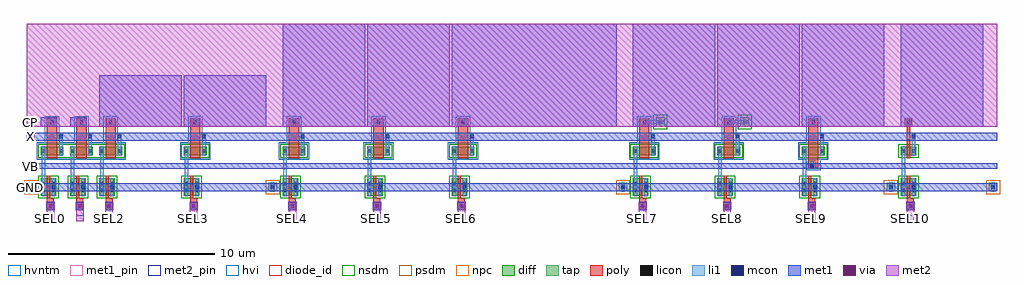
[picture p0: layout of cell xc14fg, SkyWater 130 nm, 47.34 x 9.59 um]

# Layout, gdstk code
import gdstk
lib = gdstk.Library(unit=1e-6, precision=1e-09)
def R(c, l, rs):  # rectangles x0, y0, x1, y1
    for r in rs: c.add(gdstk.rectangle(r[:2], r[2:], *l))
def A(c, l, x, y, w, h, nx, ny, dx, dy):  # array of equal rectangles
    R(c, l, [(x+i*dx, y+j*dy, x+i*dx+w, y+j*dy+h) for i in range(nx) for j in range(ny)])
diff = (65, 20)
tap = (65, 44)
poly = (66, 20)
licon = (66, 44)
li1 = (67, 20)
mcon = (67, 44)
met1_pin = (68, 16)
met1 = (68, 20)
via = (68, 44)
met2_pin = (69, 16)
met2 = (69, 20)
hvi = (75, 20)
diode_id = (81, 23)
nsdm = (93, 44)
psdm = (94, 20)
npc = (95, 20)
hvntm = (125, 20)

xc14fg = lib.new_cell('xc14fg')
A(xc14fg, diff, 0.69, -1.96, 0.75, 0.84, 3, 1, 1.42, 0)
A(xc14fg, diff, 12.42, -1.96, 0.75, 0.84, 3, 1, 4.1, 0)
A(xc14fg, diff, 29.41, -1.96, 0.75, 0.84, 3, 1, 4.1, 0)
A(xc14fg, diff, 0.69, 0, 1.1, 0.42, 3, 1, 1.42, 0)
A(xc14fg, diff, 12.42, 0, 1.1, 0.42, 3, 1, 4.1, 0)
A(xc14fg, diff, 29.41, 0, 1.1, 0.42, 3, 1, 4.1, 0)
R(xc14fg, diff, [(7.63,-1.96,8.38,-1.12), (42.4,-1.96,43.15,-1.12), (7.63,0,8.73,0.42), (42.4,0,43.15,0.42), (30.51,1.4,30.96,1.85), (34.61,1.4,35.06,1.85)])
R(xc14fg, tap, [(0,-1.75,0.42,-1.33), (11.73,-1.75,12.15,-1.33), (28.72,-1.75,29.14,-1.33), (41.71,-1.75,42.13,-1.33), (46.67,-1.75,47.09,-1.33)])
A(xc14fg, poly, 0.99, -2.62, 0.34, 0.53, 3, 1, 1.42, 0)
A(xc14fg, poly, 12.72, -2.62, 0.34, 0.53, 3, 1, 4.1, 0)
A(xc14fg, poly, 29.71, -2.62, 0.34, 0.53, 3, 1, 4.1, 0)
A(xc14fg, poly, 0.99, -2.09, 0.15, 1.1, 3, 1, 1.42, 0)
A(xc14fg, poly, 12.72, -2.09, 0.15, 1.1, 3, 1, 4.1, 0)
A(xc14fg, poly, 29.71, -2.09, 0.15, 1.1, 3, 1, 4.1, 0)
A(xc14fg, poly, 0.99, -0.13, 0.5, 1.92, 3, 1, 1.42, 0)
A(xc14fg, poly, 12.72, -0.13, 0.5, 1.92, 3, 1, 4.1, 0)
R(xc14fg, poly, [(7.93,-2.62,8.27,-2.09), (42.7,-2.62,43.04,-2.09), (7.93,-2.09,8.08,-0.99), (42.7,-2.09,42.85,-0.99), (37.91,-0.62,38.41,1.79), (7.93,-0.13,8.43,1.79), (29.71,-0.13,30.21,1.79), (33.81,-0.13,34.31,1.79), (42.7,-0.13,42.85,1.46), (42.605,1.46,42.945,1.79)])
A(xc14fg, licon, 1.08, -2.54, 0.17, 0.17, 3, 1, 1.42, 0)
A(xc14fg, licon, 12.81, -2.54, 0.17, 0.17, 3, 1, 4.1, 0)
A(xc14fg, licon, 29.8, -2.54, 0.17, 0.17, 3, 1, 4.1, 0)
A(xc14fg, licon, 1.155, 1.54, 0.17, 0.17, 3, 1, 1.42, 0)
A(xc14fg, licon, 12.885, 1.54, 0.17, 0.17, 3, 1, 4.1, 0)
R(xc14fg, licon, [(8.02,-2.54,8.19,-2.37), (42.79,-2.54,42.96,-2.37), (0.73,-1.795,0.9,-1.625), (1.23,-1.795,1.4,-1.625), (2.15,-1.795,2.32,-1.625), (2.65,-1.795,2.82,-1.625), (3.57,-1.795,3.74,-1.625), (4.07,-1.795,4.24,-1.625), (7.67,-1.795,7.84,-1.625), (8.17,-1.795,8.34,-1.625), (12.46,-1.795,12.63,-1.625), (12.96,-1.795,13.13,-1.625), (16.56,-1.795,16.73,-1.625), (17.06,-1.795,17.23,-1.625), (20.66,-1.795,20.83,-1.625), (21.16,-1.795,21.33,-1.625), (29.45,-1.795,29.62,-1.625), (29.95,-1.795,30.12,-1.625), (33.55,-1.795,33.72,-1.625), (34.05,-1.795,34.22,-1.625), (37.65,-1.795,37.82,-1.625), (38.15,-1.795,38.32,-1.625), (42.44,-1.795,42.61,-1.625), (42.94,-1.795,43.11,-1.625), (0.125,-1.625,0.295,-1.455), (11.855,-1.625,12.025,-1.455), (28.845,-1.625,29.015,-1.455), (41.835,-1.625,42.005,-1.455), (46.795,-1.625,46.965,-1.455), (0.73,-1.455,0.9,-1.285), (1.23,-1.455,1.4,-1.285), (2.15,-1.455,2.32,-1.285), (2.65,-1.455,2.82,-1.285), (3.57,-1.455,3.74,-1.285), (4.07,-1.455,4.24,-1.285), (7.67,-1.455,7.84,-1.285), (8.17,-1.455,8.34,-1.285), (12.46,-1.455,12.63,-1.285), (12.96,-1.455,13.13,-1.285), (16.56,-1.455,16.73,-1.285), (17.06,-1.455,17.23,-1.285), (20.66,-1.455,20.83,-1.285), (21.16,-1.455,21.33,-1.285), (29.45,-1.455,29.62,-1.285), (29.95,-1.455,30.12,-1.285), (33.55,-1.455,33.72,-1.285), (34.05,-1.455,34.22,-1.285), (37.65,-1.455,37.82,-1.285), (38.15,-1.455,38.32,-1.285), (42.44,-1.455,42.61,-1.285), (42.94,-1.455,43.11,-1.285), (38,-0.54,38.17,-0.37), (0.73,0.125,0.9,0.295), (1.58,0.125,1.75,0.295), (2.15,0.125,2.32,0.295), (3,0.125,3.17,0.295), (3.57,0.125,3.74,0.295), (4.42,0.125,4.59,0.295), (7.67,0.125,7.84,0.295), (8.52,0.125,8.69,0.295), (12.46,0.125,12.63,0.295), (13.31,0.125,13.48,0.295), (16.56,0.125,16.73,0.295), (17.41,0.125,17.58,0.295), (20.66,0.125,20.83,0.295), (21.51,0.125,21.68,0.295), (29.45,0.125,29.62,0.295), (30.3,0.125,30.47,0.295), (33.55,0.125,33.72,0.295), (34.4,0.125,34.57,0.295), (37.65,0.125,37.82,0.295), (38.5,0.125,38.67,0.295), (42.44,0.125,42.61,0.295), (42.94,0.125,43.11,0.295), (8.095,1.54,8.265,1.71), (29.875,1.54,30.045,1.71), (30.65,1.54,30.82,1.71), (33.975,1.54,34.145,1.71), (34.75,1.54,34.92,1.71), (38.075,1.54,38.245,1.71), (42.69,1.54,42.86,1.71)])
A(xc14fg, li1, 1.08, -2.62, 0.17, 0.33, 3, 1, 1.42, 0)
A(xc14fg, li1, 12.81, -2.62, 0.17, 0.33, 3, 1, 4.1, 0)
A(xc14fg, li1, 29.8, -2.62, 0.17, 0.33, 3, 1, 4.1, 0)
A(xc14fg, li1, 0.73, -1.98, 0.17, 2.42, 3, 1, 1.42, 0)
A(xc14fg, li1, 1.23, -1.98, 0.17, 0.88, 3, 1, 1.42, 0)
A(xc14fg, li1, 12.46, -1.98, 0.17, 2.42, 3, 1, 4.1, 0)
A(xc14fg, li1, 12.96, -1.98, 0.17, 0.88, 3, 1, 4.1, 0)
A(xc14fg, li1, 29.45, -1.98, 0.17, 2.42, 3, 1, 4.1, 0)
A(xc14fg, li1, 29.95, -1.98, 0.17, 0.88, 3, 1, 4.1, 0)
A(xc14fg, li1, 1.58, -0.02, 0.17, 1.07, 3, 1, 1.42, 0)
A(xc14fg, li1, 13.31, -0.02, 0.17, 1.07, 3, 1, 4.1, 0)
A(xc14fg, li1, 30.3, -0.02, 0.17, 1.07, 3, 1, 4.1, 0)
A(xc14fg, li1, 1.155, 1.46, 0.17, 0.33, 3, 1, 1.42, 0)
A(xc14fg, li1, 12.885, 1.46, 0.17, 0.33, 3, 1, 4.1, 0)
R(xc14fg, li1, [(8.02,-2.62,8.19,-2.29), (42.79,-2.62,42.96,-2.29), (7.67,-1.98,7.84,0.44), (8.17,-1.98,8.34,-1.1), (42.44,-1.98,42.61,0.44), (42.94,-1.98,43.11,-1.1), (0.125,-1.77,0.295,-1.31), (11.855,-1.77,12.025,-1.31), (28.845,-1.77,29.015,-1.31), (41.835,-1.77,42.005,-1.31), (46.795,-1.77,46.965,-1.31), (38,-0.62,38.17,-0.29), (8.52,-0.02,8.69,1.05), (42.94,-0.02,43.11,1.05), (8.095,1.46,8.265,1.79), (29.875,1.46,30.045,1.54), (33.975,1.46,34.145,1.54), (38.075,1.46,38.245,1.79), (42.69,1.46,42.86,1.79), (29.875,1.54,30.9,1.71), (33.975,1.54,35,1.71), (29.875,1.71,30.045,1.79), (33.975,1.71,34.145,1.79)])
A(xc14fg, mcon, 1.08, -2.54, 0.17, 0.17, 3, 1, 1.42, 0)
A(xc14fg, mcon, 12.81, -2.54, 0.17, 0.17, 3, 1, 4.1, 0)
A(xc14fg, mcon, 29.8, -2.54, 0.17, 0.17, 3, 1, 4.1, 0)
A(xc14fg, mcon, 1.23, -1.625, 0.17, 0.17, 3, 1, 1.42, 0)
A(xc14fg, mcon, 12.96, -1.625, 0.17, 0.17, 3, 1, 4.1, 0)
A(xc14fg, mcon, 29.95, -1.625, 0.17, 0.17, 3, 1, 4.1, 0)
A(xc14fg, mcon, 1.58, 0.82, 0.17, 0.17, 3, 1, 1.42, 0)
A(xc14fg, mcon, 13.31, 0.82, 0.17, 0.17, 3, 1, 4.1, 0)
A(xc14fg, mcon, 30.3, 0.82, 0.17, 0.17, 3, 1, 4.1, 0)
A(xc14fg, mcon, 1.155, 1.54, 0.17, 0.17, 3, 1, 1.42, 0)
A(xc14fg, mcon, 12.885, 1.54, 0.17, 0.17, 3, 1, 4.1, 0)
A(xc14fg, mcon, 29.875, 1.54, 0.17, 0.17, 3, 1, 4.1, 0)
R(xc14fg, mcon, [(8.02,-2.54,8.19,-2.37), (42.79,-2.54,42.96,-2.37), (0.125,-1.625,0.295,-1.455), (8.17,-1.625,8.34,-1.455), (11.855,-1.625,12.025,-1.455), (28.845,-1.625,29.015,-1.455), (41.835,-1.625,42.005,-1.455), (42.94,-1.625,43.11,-1.455), (46.795,-1.625,46.965,-1.455), (38,-0.6,38.17,-0.43), (8.52,0.82,8.69,0.99), (42.94,0.82,43.11,0.99), (8.095,1.54,8.265,1.71), (42.69,1.54,42.86,1.71)])
R(xc14fg, met1_pin, [(0,-1.74,0.4,-1.34), (0,-0.66,0.4,-0.37), (0,0.72,0.4,1.09)])
A(xc14fg, met1, 0.965, -2.655, 0.4, 0.4, 3, 1, 1.42, 0)
A(xc14fg, met1, 12.695, -2.655, 0.4, 0.4, 3, 1, 4.1, 0)
A(xc14fg, met1, 29.685, -2.655, 0.4, 0.4, 3, 1, 4.1, 0)
A(xc14fg, met1, 29.41, 1.39, 4, 5, 3, 1, 4.1, 0)
R(xc14fg, met1, [(7.905,-2.655,8.305,-2.255), (42.675,-2.655,43.075,-2.255), (0,-1.74,47.09,-1.34), (0,-0.66,47.09,-0.37), (0,0.72,47.09,1.09), (0.69,1.39,1.49,1.84), (2.11,1.39,2.91,1.84), (3.53,1.39,7.53,3.89), (7.63,1.39,11.63,3.89), (12.42,1.39,16.42,6.39), (16.52,1.39,20.52,6.39), (20.62,1.39,28.62,6.39), (42.4,1.39,46.4,6.39)])
A(xc14fg, via, 1.09, -2.53, 0.15, 0.15, 3, 1, 1.42, 0)
A(xc14fg, via, 12.82, -2.53, 0.15, 0.15, 3, 1, 4.1, 0)
A(xc14fg, via, 29.81, -2.53, 0.15, 0.15, 3, 1, 4.1, 0)
R(xc14fg, via, [(8.03,-2.53,8.18,-2.38), (42.8,-2.53,42.95,-2.38)])
A(xc14fg, met2_pin, 0.985, -3.2, 0.36, 0.3, 3, 1, 1.42, 0)
A(xc14fg, met2_pin, 12.715, -3.2, 0.36, 0.3, 3, 1, 4.1, 0)
A(xc14fg, met2_pin, 29.705, -3.2, 0.36, 0.3, 3, 1, 4.1, 0)
R(xc14fg, met2_pin, [(7.925,-3.2,8.285,-2.9), (42.695,-3.2,43.055,-2.9), (0,1.39,0.4,1.79)])
A(xc14fg, met2, 0.985, -3.2, 0.36, 0.925, 3, 1, 1.42, 0)
A(xc14fg, met2, 12.715, -3.2, 0.36, 0.925, 3, 1, 4.1, 0)
A(xc14fg, met2, 29.705, -3.2, 0.36, 0.925, 3, 1, 4.1, 0)
R(xc14fg, met2, [(7.925,-3.2,8.285,-2.275), (42.695,-3.2,43.055,-2.275), (0,1.39,47.09,6.39)])
A(xc14fg, hvi, 12.235, -0.21, 1.47, 0.84, 3, 1, 4.1, 0)
A(xc14fg, hvi, 29.225, -0.21, 1.47, 0.84, 3, 1, 4.1, 0)
A(xc14fg, hvi, 0.89, 0.63, 0.7, 1.26, 3, 1, 1.42, 0)
A(xc14fg, hvi, 12.62, 0.63, 0.7, 1.26, 3, 1, 4.1, 0)
A(xc14fg, hvi, 29.61, 0.63, 0.7, 1.26, 3, 1, 4.1, 0)
R(xc14fg, hvi, [(37.81,-0.72,38.51,-0.21), (0.505,-0.21,4.815,0.63), (7.445,-0.21,8.915,0.63), (7.83,0.63,8.53,1.89)])
R(xc14fg, diode_id, [(30.51,1.4,30.96,1.85), (34.61,1.4,35.06,1.85)])
A(xc14fg, nsdm, 0.565, -2.085, 1, 1.09, 3, 1, 1.42, 0)
A(xc14fg, nsdm, 12.295, -2.085, 1, 1.09, 3, 1, 4.1, 0)
A(xc14fg, nsdm, 29.285, -2.085, 1, 1.09, 3, 1, 4.1, 0)
A(xc14fg, nsdm, 12.295, -0.125, 1.35, 0.67, 3, 1, 4.1, 0)
A(xc14fg, nsdm, 29.285, -0.125, 1.35, 0.67, 3, 1, 4.1, 0)
R(xc14fg, nsdm, [(7.505,-2.085,8.505,-0.995), (42.275,-2.085,43.275,-0.995), (0.565,-0.125,4.755,0.545), (7.505,-0.125,8.855,0.545), (42.275,-0.125,43.275,0.545), (30.385,1.275,31.085,1.975), (34.485,1.275,35.185,1.975)])
R(xc14fg, psdm, [(-0.125,-1.875,0.545,-1.205), (11.605,-1.875,12.275,-1.205), (28.595,-1.875,29.265,-1.205), (41.585,-1.875,42.255,-1.205), (46.545,-1.875,47.215,-1.205)])
A(xc14fg, npc, 0.98, -2.64, 0.37, 0.37, 3, 1, 1.42, 0)
A(xc14fg, npc, 12.71, -2.64, 0.37, 0.37, 3, 1, 4.1, 0)
A(xc14fg, npc, 29.7, -2.64, 0.37, 0.37, 3, 1, 4.1, 0)
A(xc14fg, npc, 1.055, 1.44, 0.37, 0.37, 3, 1, 1.42, 0)
A(xc14fg, npc, 12.785, 1.44, 0.37, 0.37, 3, 1, 4.1, 0)
A(xc14fg, npc, 29.775, 1.44, 0.37, 0.37, 3, 1, 4.1, 0)
R(xc14fg, npc, [(7.92,-2.64,8.29,-2.27), (42.69,-2.64,43.06,-2.27), (37.9,-0.64,38.27,-0.27), (7.995,1.44,8.365,1.81), (42.59,1.44,42.96,1.81)])
A(xc14fg, hvntm, 12.235, -0.185, 1.47, 0.79, 3, 1, 4.1, 0)
A(xc14fg, hvntm, 29.225, -0.185, 1.47, 0.79, 3, 1, 4.1, 0)
R(xc14fg, hvntm, [(0.505,-0.185,4.815,0.605), (7.445,-0.185,8.915,0.605)])
xc14fg.add(gdstk.Label('SEL0', (1.165,-3.05), layer=69, texttype=5))
xc14fg.add(gdstk.Label('SEL1', (2.585,-3.05), layer=69, texttype=5))
xc14fg.add(gdstk.Label('SEL2', (4.005,-3.05), layer=69, texttype=5))
xc14fg.add(gdstk.Label('SEL3', (8.105,-3.05), layer=69, texttype=5))
xc14fg.add(gdstk.Label('SEL4', (12.895,-3.05), layer=69, texttype=5))
xc14fg.add(gdstk.Label('SEL5', (16.995,-3.05), layer=69, texttype=5))
xc14fg.add(gdstk.Label('SEL6', (21.095,-3.05), layer=69, texttype=5))
xc14fg.add(gdstk.Label('SEL7', (29.885,-3.05), layer=69, texttype=5))
xc14fg.add(gdstk.Label('SEL8', (33.985,-3.05), layer=69, texttype=5))
xc14fg.add(gdstk.Label('SEL9', (38.085,-3.05), layer=69, texttype=5))
xc14fg.add(gdstk.Label('SEL10', (42.875,-3.05), layer=69, texttype=5))
xc14fg.add(gdstk.Label('X', (0.2,0.905), layer=68, texttype=5))
xc14fg.add(gdstk.Label('VB', (0.2,-0.515), layer=68, texttype=5))
xc14fg.add(gdstk.Label('GND', (0.2,-1.54), layer=68, texttype=5))
xc14fg.add(gdstk.Label('CP', (0.2,1.59), layer=69, texttype=5))

lib.write_gds('xc14fg.gds')
